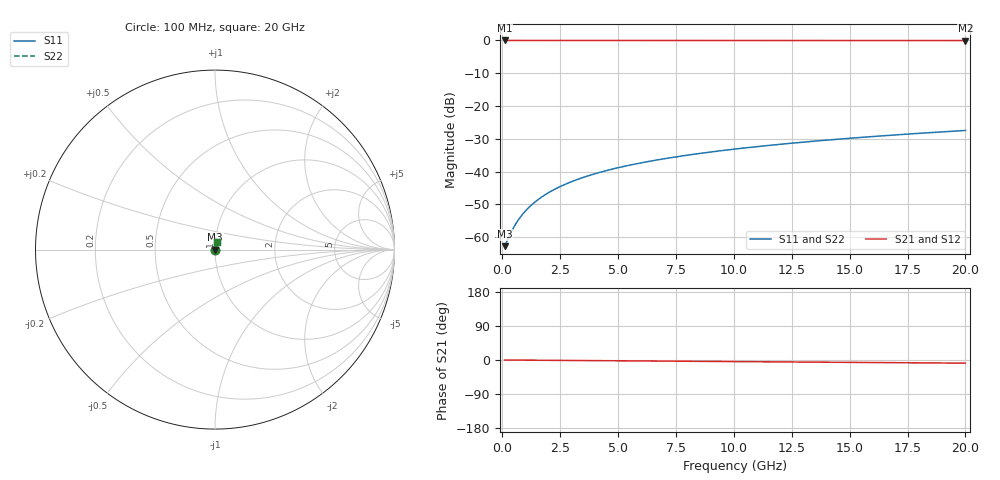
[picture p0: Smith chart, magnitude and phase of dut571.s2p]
! Touchstone file exported from HFSS 2026.1.0
!  File:  C:/ffzhzh/LocalFiles/Ansys_Project_Files/temp_train_TSV_571_1783024751_55676.aedt
!  Generated:  04:42:11 AM Jul  3, 2026
!  Design:  TSV
!  Project:  temp_train_TSV_571_1783024751_55676
! Variables:
!  h_bsmrdl = 2um
!  h_ox = 20um
!  h_rdl = 5um
!  h_sub = 84.12um
!  h_tmrdl = 5um
!  h_tsv = 84.12um
!  h_via = 3um
!  l_bsmrdl = 300um
!  l_sub = 407.68um
!  l_tmrdl = 200um
!  m_sub = 200um
!  pitch = 24.03um
!  r_tsv = 3.84um
!  s_tmrdl = 10um
!  w_bsmrdl = 18um
!  w_sub = 500um
!  w_tmrdl = 12um
!  x_tsv_center1 = 206um
!  x_tsv_center2 = 524um
!  x_tsv_center3 = 736um
!  x_tsv_center4 = 1054um
!  x_tsv_center5 = 1266um
!  x_tsv_center6 = 1584um
# GHz S MA R 50.000000
! Terminal data exported
! Port[1] = TSV1_1_T1
! Port[2] = TSV1_1_T2
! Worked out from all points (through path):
!   200 points, 100 MHz to 20 GHz, reference 50 ohm
!   highest |S21| = -0.01 dB at 100 MHz (marker M1); lowest = 0.0 dB at 20 GHz (marker M2)
!   group delay of S21, straight-line fit = 1.15 ps
!   lowest |S11| = -62.8 dB at 100 MHz (marker M3), VSWR 1.00, Z = 50.1 + j0.0256 ohm
!   |S11| at or under -10 dB: start of sweep to end of sweep
!   |S22| runs from -62.8 to -27.5 dB; largest |S21 - S12| = 2.3e-15
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0.1  0.0007282 20.6  0.9993 -0.0  0.9993 -0.0  0.0007282 20.6
! Gamma 0 0 0 0
! Port Impedance 50 0 50 0
0.4  0.001223 53.4  0.9993 -0.2  0.9993 -0.2  0.001223 53.4
0.5  0.001424 58.6  0.9993 -0.2  0.9993 -0.2  0.001424 58.6
0.6  0.001632 62.4  0.9992 -0.3  0.9992 -0.3  0.001632 62.4
0.7  0.001845 65.4  0.9992 -0.3  0.9992 -0.3  0.001845 65.4
0.9  0.002282 69.7  0.9992 -0.4  0.9992 -0.4  0.002282 69.7
1.1  0.002729 72.6  0.9992 -0.5  0.9992 -0.5  0.002729 72.6
1.3  0.00318 74.6  0.9992 -0.6  0.9992 -0.6  0.00318 74.6
1.7  0.00409 77.2  0.9991 -0.7  0.9991 -0.7  0.00409 77.2
2.2  0.005229 79.0  0.9991 -0.9  0.9991 -0.9  0.005229 79.0
2.8  0.006589 80.0  0.999 -1.2  0.999 -1.2  0.006589 80.0
3.5  0.008158 80.6  0.9988 -1.5  0.9988 -1.5  0.008158 80.6
4.2  0.009705 80.9  0.9987 -1.8  0.9987 -1.8  0.009705 80.9
5  0.01145 81.0  0.9986 -2.1  0.9986 -2.1  0.01145 81.0
5.9  0.01338 81.0  0.9984 -2.5  0.9984 -2.5  0.01338 81.0
6.8  0.01529 80.9  0.9982 -2.9  0.9982 -2.9  0.01529 80.9
8.3  0.01843 80.7  0.998 -3.5  0.998 -3.5  0.01843 80.7
10.1  0.02216 80.4  0.9977 -4.2  0.9977 -4.2  0.02216 80.4
11.7  0.02545 80.1  0.9974 -4.9  0.9974 -4.9  0.02545 80.1
13.4  0.02894 79.7  0.9972 -5.6  0.9972 -5.6  0.02894 79.7
16.7  0.03566 78.8  0.9967 -7.0  0.9967 -7.0  0.03566 78.8
20  0.04233 77.7  0.9962 -8.3  0.9962 -8.3  0.04233 77.7
